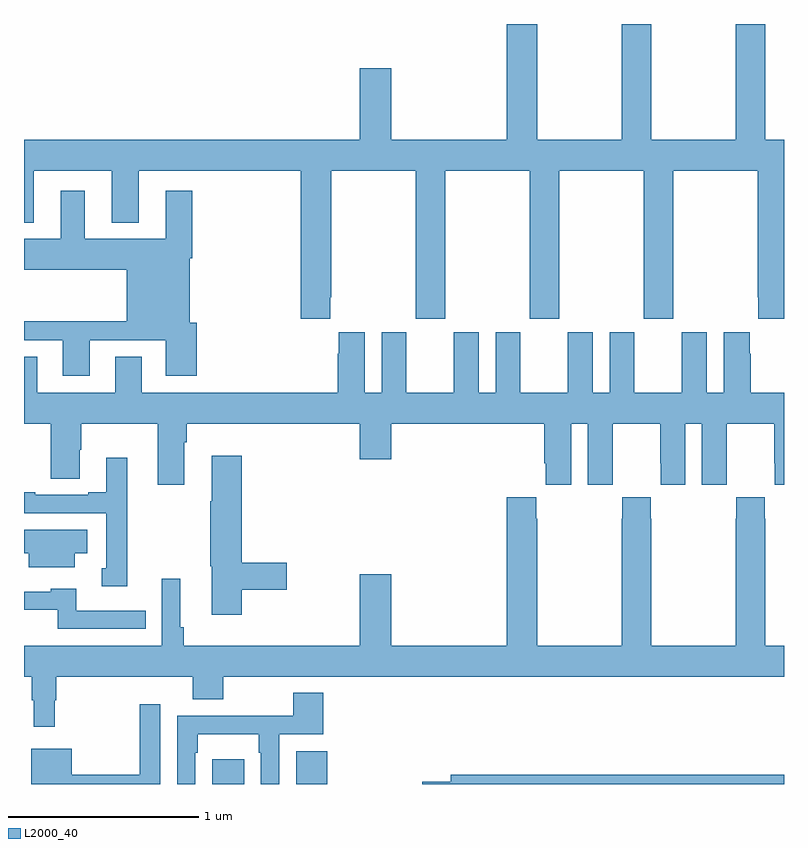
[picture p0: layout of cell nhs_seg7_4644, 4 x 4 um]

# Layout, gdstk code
import gdstk
lib = gdstk.Library(unit=1e-6, precision=1e-09)
def R(c, l, rs):  # rectangles x0, y0, x1, y1
    for r in rs: c.add(gdstk.rectangle(r[:2], r[2:], *l))
def P(c, l, *ps):  # polygons
    for p in ps: c.add(gdstk.Polygon(p, *l))
L2000_40 = (2000, 40)

nhs_seg7_4644 = lib.new_cell('nhs_seg7_4644')
R(nhs_seg7_4644, L2000_40, [(403.991,1052,404.158,1052.131), (404.432,1052,404.596,1052.173)])
P(nhs_seg7_4644, L2000_40, [(404.611,1054.561),(404.616,1054.561),(404.616,1055.228),(405.061,1055.228),(405.061,1054.449),(405.216,1054.449),(405.216,1055.228),(405.661,1055.228),(405.661,1054.449),(405.816,1054.449),(405.816,1055.228),(406.261,1055.228),(406.261,1054.449),(406.416,1054.449),(406.416,1055.228),(406.861,1055.228),(406.861,1054.561),(406.865,1054.561),(406.865,1054.449),(407,1054.449),(407,1055.392),(406.902,1055.392),(406.902,1056),(406.747,1056),(406.747,1055.392),(406.302,1055.392),(406.302,1056),(406.147,1056),(406.147,1055.392),(405.702,1055.392),(405.702,1056),(405.542,1056),(405.542,1055.392),(404.932,1055.392),(404.932,1055.767),(404.768,1055.767),(404.768,1055.392),(403,1055.392),(403,1054.955),(403.051,1054.955),(403.051,1055.228),(403.463,1055.228),(403.463,1054.955),(403.603,1054.955),(403.603,1055.228),(404.456,1055.228),(404.456,1054.449),(404.611,1054.449)],
  [(403.345,1054.335),(403.745,1054.335),(403.745,1054.149),(403.91,1054.149),(403.91,1054.428),(403.873,1054.428),(403.873,1054.766),(403.886,1054.766),(403.886,1055.122),(403.745,1055.122),(403.745,1054.87),(403.321,1054.87),(403.321,1055.122),(403.193,1055.122),(403.193,1054.87),(403,1054.87),(403,1054.706),(403.541,1054.706),(403.541,1054.436),(403,1054.436),(403,1054.335),(403.205,1054.335),(403.205,1054.149),(403.345,1054.149)],
  [(406.098,1053.688),(406.099,1053.688),(406.099,1053.896),(406.349,1053.896),(406.349,1053.688),(406.35,1053.688),(406.35,1053.576),(406.48,1053.576),(406.48,1053.896),(406.568,1053.896),(406.568,1053.576),(406.698,1053.576),(406.698,1053.688),(406.699,1053.688),(406.699,1053.896),(406.949,1053.896),(406.949,1053.688),(406.95,1053.688),(406.95,1053.576),(407,1053.576),(407,1054.06),(406.826,1054.06),(406.826,1054.265),(406.819,1054.265),(406.819,1054.378),(406.682,1054.378),(406.682,1054.06),(406.594,1054.06),(406.594,1054.378),(406.463,1054.378),(406.463,1054.06),(406.213,1054.06),(406.213,1054.378),(406.082,1054.378),(406.082,1054.06),(405.994,1054.06),(405.994,1054.378),(405.863,1054.378),(405.863,1054.06),(405.613,1054.06),(405.613,1054.378),(405.482,1054.378),(405.482,1054.06),(405.394,1054.06),(405.394,1054.378),(405.263,1054.378),(405.263,1054.06),(405.013,1054.06),(405.013,1054.378),(404.882,1054.378),(404.882,1054.06),(404.794,1054.06),(404.794,1054.378),(404.657,1054.378),(404.657,1054.265),(404.651,1054.265),(404.651,1054.06),(403.621,1054.06),(403.621,1054.25),(403.481,1054.25),(403.481,1054.06),(403.069,1054.06),(403.069,1054.25),(403,1054.25),(403,1053.896),(403.142,1053.896),(403.142,1053.607),(403.294,1053.607),(403.294,1053.758),(403.302,1053.758),(403.302,1053.896),(403.703,1053.896),(403.703,1053.576),(403.843,1053.576),(403.843,1053.8),(403.856,1053.8),(403.856,1053.896),(404.768,1053.896),(404.768,1053.708),(404.932,1053.708),(404.932,1053.896),(405.737,1053.896),(405.737,1053.688),(405.746,1053.688),(405.746,1053.576),(405.88,1053.576),(405.88,1053.896),(405.968,1053.896),(405.968,1053.576),(406.098,1053.576)],
  [(404.147,1053.022),(404.383,1053.022),(404.383,1053.164),(404.147,1053.164),(404.147,1053.727),(403.988,1053.727),(403.988,1053.488),(403.981,1053.488),(403.981,1053.147),(403.988,1053.147),(403.988,1052.892),(404.147,1052.892)],
  [(403.543,1053.718),(403.433,1053.718),(403.433,1053.535),(403.337,1053.535),(403.337,1053.522),(403.058,1053.522),(403.058,1053.535),(403,1053.535),(403,1053.426),(403.434,1053.426),(403.434,1053.135),(403.409,1053.135),(403.409,1053.041),(403.543,1053.041)],
  [(403.162,1052.441),(403.169,1052.441),(403.169,1052.564),(403.889,1052.564),(403.889,1052.447),(404.049,1052.447),(404.049,1052.564),(407,1052.564),(407,1052.728),(406.902,1052.728),(406.902,1053.395),(406.899,1053.395),(406.899,1053.508),(406.749,1053.508),(406.749,1053.395),(406.747,1053.395),(406.747,1052.728),(406.302,1052.728),(406.302,1053.395),(406.299,1053.395),(406.299,1053.508),(406.149,1053.508),(406.149,1053.395),(406.147,1053.395),(406.147,1052.728),(405.702,1052.728),(405.702,1053.395),(405.695,1053.395),(405.695,1053.508),(405.542,1053.508),(405.542,1052.728),(404.932,1052.728),(404.932,1053.103),(404.768,1053.103),(404.768,1052.728),(403.841,1052.728),(403.841,1052.824),(403.822,1052.824),(403.822,1053.079),(403.725,1053.079),(403.725,1052.728),(403,1052.728),(403,1052.564),(403.041,1052.564),(403.041,1052.441),(403.052,1052.441),(403.052,1052.301),(403.162,1052.301)],
  [(403.267,1053.215),(403.333,1053.215),(403.333,1053.337),(403,1053.337),(403,1053.215),(403.025,1053.215),(403.025,1053.14),(403.267,1053.14)],
  [(403.64,1052.913),(403.276,1052.913),(403.276,1053.028),(403.14,1053.028),(403.14,1053.012),(403,1053.012),(403,1052.916),(403.177,1052.916),(403.177,1052.817),(403.64,1052.817)],
  [(403.902,1052.165),(403.915,1052.165),(403.915,1052.261),(404.235,1052.261),(404.235,1052.165),(404.247,1052.165),(404.247,1052),(404.343,1052),(404.343,1052.262),(404.576,1052.262),(404.576,1052.479),(404.416,1052.479),(404.416,1052.36),(404.15,1052.36),(404.15,1052.358),(403.806,1052.358),(403.806,1052),(403.902,1052)],
  [(403.716,1052.419),(403.608,1052.419),(403.608,1052.048),(403.252,1052.048),(403.252,1052.185),(403.037,1052.185),(403.037,1052),(403.716,1052)],
  [(407,1052.048),(405.245,1052.048),(405.245,1052.012),(405.096,1052.012),(405.096,1052),(407,1052)])

lib.write_gds('nhs_seg7_4644.gds')
